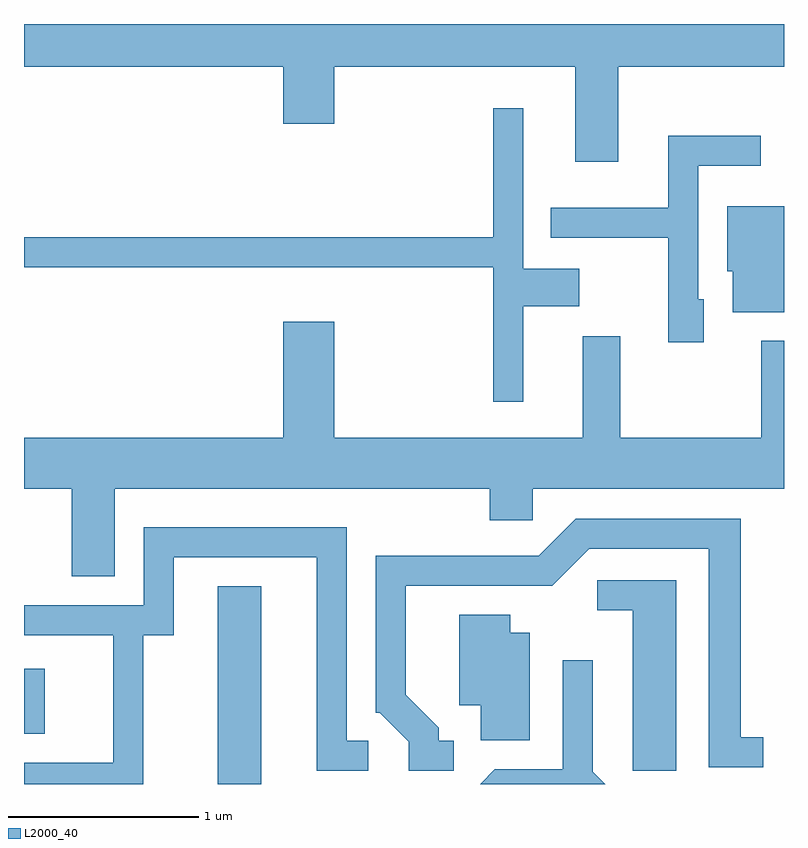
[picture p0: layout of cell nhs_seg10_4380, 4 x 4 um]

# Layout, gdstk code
import gdstk
lib = gdstk.Library(unit=1e-6, precision=1e-09)
def R(c, l, rs):  # rectangles x0, y0, x1, y1
    for r in rs: c.add(gdstk.rectangle(r[:2], r[2:], *l))
def P(c, l, *ps):  # polygons
    for p in ps: c.add(gdstk.Polygon(p, *l))
L2000_40 = (2000, 40)

nhs_seg10_4380 = lib.new_cell('nhs_seg10_4380')
R(nhs_seg10_4380, L2000_40, [(314.631,2174.522,314.859,2175.564), (313.611,2174.786,313.719,2175.129)])
P(nhs_seg10_4380, L2000_40, [(316.739,2178.296),(317.611,2178.296),(317.611,2178.522),(313.611,2178.522),(313.611,2178.296),(314.976,2178.296),(314.976,2177.996),(315.244,2177.996),(315.244,2178.296),(316.511,2178.296),(316.511,2177.796),(316.739,2177.796)],
  [(316.239,2177.036),(316.534,2177.036),(316.534,2177.234),(316.239,2177.234),(316.239,2178.078),(316.081,2178.078),(316.081,2177.399),(313.611,2177.399),(313.611,2177.241),(316.081,2177.241),(316.081,2176.533),(316.239,2176.533)],
  [(317.189,2177.074),(317.159,2177.074),(317.159,2177.776),(317.488,2177.776),(317.488,2177.934),(317.001,2177.934),(317.001,2177.554),(316.383,2177.554),(316.383,2177.396),(317.001,2177.396),(317.001,2176.846),(317.189,2176.846)],
  [(317.611,2177.564),(317.311,2177.564),(317.311,2177.221),(317.341,2177.221),(317.341,2177.006),(317.611,2177.006)],
  [(314.089,2176.076),(316.061,2176.076),(316.061,2175.911),(316.289,2175.911),(316.289,2176.076),(317.611,2176.076),(317.611,2176.854),(317.491,2176.854),(317.491,2176.344),(316.749,2176.344),(316.749,2176.879),(316.551,2176.879),(316.551,2176.344),(315.244,2176.344),(315.244,2176.954),(314.976,2176.954),(314.976,2176.344),(313.611,2176.344),(313.611,2176.076),(313.861,2176.076),(313.861,2175.616),(314.089,2175.616)],
  [(315.873,2174.749),(315.794,2174.749),(315.794,2174.817),(315.619,2174.992),(315.619,2175.566),(316.392,2175.566),(316.587,2175.761),(317.216,2175.761),(317.216,2174.611),(317.503,2174.611),(317.503,2174.769),(317.384,2174.769),(317.384,2175.919),(316.514,2175.919),(316.319,2175.724),(315.461,2175.724),(315.461,2174.896),(315.484,2174.896),(315.636,2174.744),(315.636,2174.591),(315.873,2174.591)],
  [(314.239,2175.306),(314.399,2175.306),(314.399,2175.716),(315.151,2175.716),(315.151,2174.591),(315.423,2174.591),(315.423,2174.749),(315.309,2174.749),(315.309,2175.874),(314.241,2175.874),(314.241,2175.464),(313.611,2175.464),(313.611,2175.306),(314.081,2175.306),(314.081,2174.634),(313.611,2174.634),(313.611,2174.522),(314.239,2174.522)],
  [(317.044,2175.594),(316.628,2175.594),(316.628,2175.436),(316.816,2175.436),(316.816,2174.591),(317.044,2174.591)],
  [(316.274,2175.319),(316.169,2175.319),(316.169,2175.414),(315.901,2175.414),(315.901,2174.936),(316.016,2174.936),(316.016,2174.751),(316.274,2174.751)],
  [(316.604,2174.587),(316.604,2175.173),(316.446,2175.173),(316.446,2174.599),(316.089,2174.599),(316.012,2174.522),(316.669,2174.522)])

lib.write_gds('nhs_seg10_4380.gds')
